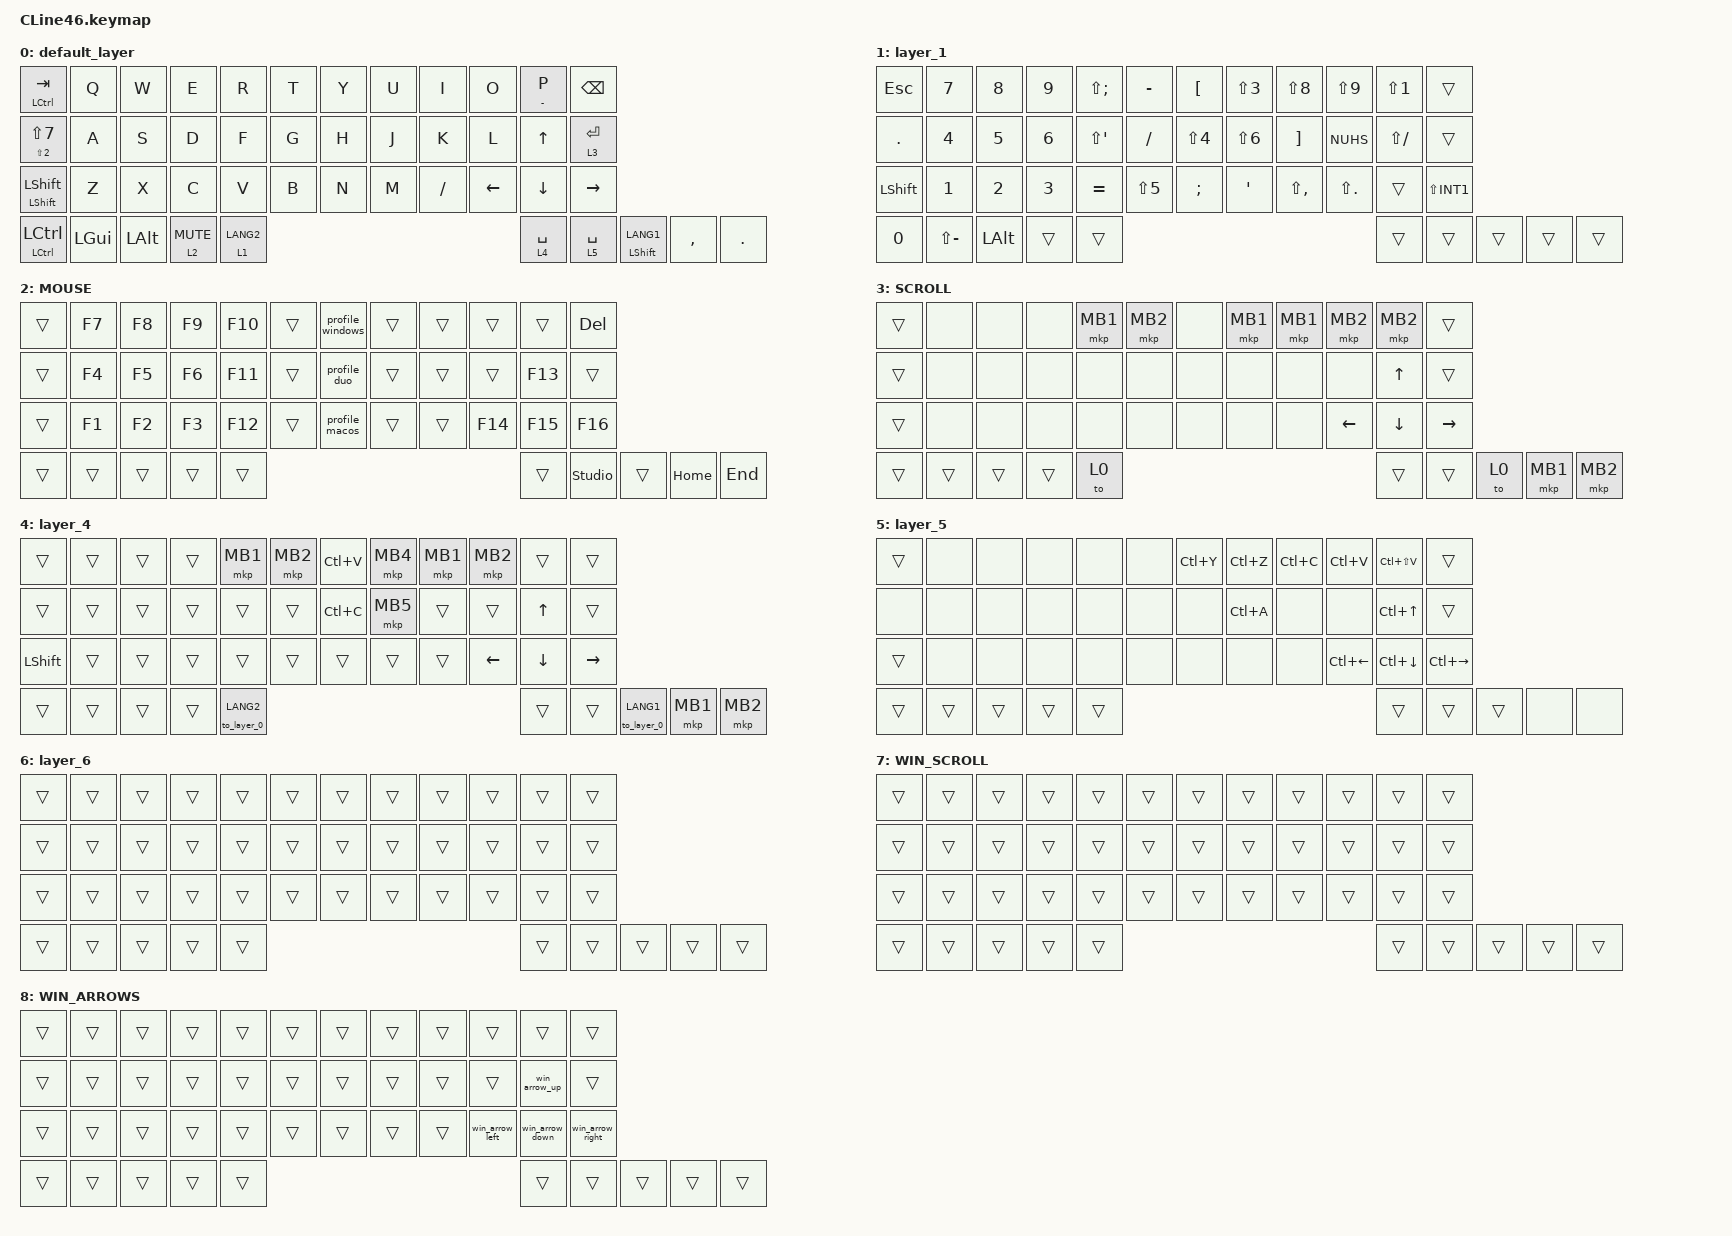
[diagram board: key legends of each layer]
#include <input/processors.dtsi>
#include <dt-bindings/zmk/input_transform.h>
#include <zephyr/dt-bindings/input/input-event-codes.h>
#include <behaviors.dtsi>
#include <behaviors/unicode.dtsi>
#include <dt-bindings/zmk/bt.h>
#include <dt-bindings/zmk/keys.h>
#include <dt-bindings/zmk/pointing.h>

// レイヤー番号（overlay の scroller と conditional_layers で使う）
#define FN_LAYER     2
#define SCROLL_LAYER 3
#define WIN_MODE     6
#define WIN_SCROLL   7
#define WIN_ARROWS   8

&mt {
    flavor = "balanced";
    quick-tap-ms = <0>;
};

/ {
    macros {
        to_layer_0: to_layer_0 {
            compatible = "zmk,behavior-macro-one-param";
            #binding-cells = <1>;
            bindings = <&to 0 &macro_param_1to1 &kp MACRO_PLACEHOLDER>;
            label = "TO_LAYER_0";
        };

        unicode_left: unicode_left {
            compatible = "zmk,behavior-macro";
            #binding-cells = <0>;
            bindings = <&uc 0x2190 0>;
            label = "UNICODE_LEFT";
        };

        unicode_up: unicode_up {
            compatible = "zmk,behavior-macro";
            #binding-cells = <0>;
            bindings = <&uc 0x2191 0>;
            label = "UNICODE_UP";
        };

        unicode_right: unicode_right {
            compatible = "zmk,behavior-macro";
            #binding-cells = <0>;
            bindings = <&uc 0x2192 0>;
            label = "UNICODE_RIGHT";
        };

        unicode_down: unicode_down {
            compatible = "zmk,behavior-macro";
            #binding-cells = <0>;
            bindings = <&uc 0x2193 0>;
            label = "UNICODE_DOWN";
        };

        profile_windows: profile_windows {
            compatible = "zmk,behavior-macro";
            #binding-cells = <0>;
            // BT 0（Windows）へ切り替え、Windows モード（レイヤー6）をオンにする。
            // そのあと BT 1（Duo）との接続を切る（つないだままだと Duo のソフトウェアキーボードが出ないため）。
            // 先に切り替えてから切断する（逆だと、切断直後に BT 1 がまだ選ばれていて Duo が再接続してしまう）
            bindings = <&uc UC_SET_WIN_COMPOSE &tog_on WIN_MODE &bt BT_SEL 0 &bt BT_DISC 1>;
            label = "PROFILE_WINDOWS";
        };

        profile_macos: profile_macos {
            compatible = "zmk,behavior-macro";
            #binding-cells = <0>;
            // BT 2（Mac）へ切り替え、Windows モードをオフにする。そのあと BT 1（Duo）との接続を切る（理由は profile_windows と同じ）
            bindings = <&uc UC_SET_MACOS &tog_off WIN_MODE &bt BT_SEL 2 &bt BT_DISC 1>;
            label = "PROFILE_MACOS";
        };

        profile_duo: profile_duo {
            compatible = "zmk,behavior-macro";
            #binding-cells = <0>;
            // BT 1（Duo / Android）へ切り替え、Windows モードをオフにする（Mac と同じ動き）
            bindings = <&tog_off WIN_MODE &bt BT_SEL 1>;
            label = "PROFILE_DUO";
        };

        // Windows の Alt＋テンキー入力で矢印記号を出す（Alt を押したままテンキー 24〜27。NumLock オン・直接入力モードが前提）
        win_arrow_up: win_arrow_up {
            compatible = "zmk,behavior-macro";
            #binding-cells = <0>;
            bindings = <&macro_press &kp LALT>, <&macro_tap &kp KP_N2 &kp KP_N4>, <&macro_release &kp LALT>;
            label = "WIN_ARROW_UP";
        };

        win_arrow_down: win_arrow_down {
            compatible = "zmk,behavior-macro";
            #binding-cells = <0>;
            bindings = <&macro_press &kp LALT>, <&macro_tap &kp KP_N2 &kp KP_N5>, <&macro_release &kp LALT>;
            label = "WIN_ARROW_DOWN";
        };

        win_arrow_right: win_arrow_right {
            compatible = "zmk,behavior-macro";
            #binding-cells = <0>;
            bindings = <&macro_press &kp LALT>, <&macro_tap &kp KP_N2 &kp KP_N6>, <&macro_release &kp LALT>;
            label = "WIN_ARROW_RIGHT";
        };

        win_arrow_left: win_arrow_left {
            compatible = "zmk,behavior-macro";
            #binding-cells = <0>;
            bindings = <&macro_press &kp LALT>, <&macro_tap &kp KP_N2 &kp KP_N7>, <&macro_release &kp LALT>;
            label = "WIN_ARROW_LEFT";
        };
    };

    behaviors {
        lt_to_layer_0: lt_to_layer_0 {
            compatible = "zmk,behavior-hold-tap";
            label = "LAYER_TAP_TO_0";
            bindings = <&mo>, <&to_layer_0>;

            #binding-cells = <2>;
            tapping-term-ms = <200>;
        };

        // レイヤーを必ずオン / 必ずオフにする（押すたびに反転する &tog と違い、何度押しても同じ結果）
        tog_on: tog_on {
            compatible = "zmk,behavior-toggle-layer";
            #binding-cells = <1>;
            display-name = "Toggle Layer On";
            toggle-mode = "on";
        };

        tog_off: tog_off {
            compatible = "zmk,behavior-toggle-layer";
            #binding-cells = <1>;
            display-name = "Toggle Layer Off";
            toggle-mode = "off";
        };

        // ジェスチャ（左親指4＋ボールを左右）で使う。Ctrl（Z の下。Mac では Command）を押していたら別のキーに変える。
        // 押していた Ctrl はホストに送らない（mod-morph の標準動作）。
        // Mac: F17/F18＝ウィンドウを左/右半分、F19/F20＝左/右のモニターへ（どちらも Hammerspoon が処理）
        gest_mac_left: gest_mac_left {
            compatible = "zmk,behavior-mod-morph";
            #binding-cells = <0>;
            bindings = <&kp F17>, <&kp F19>;
            mods = <(MOD_LCTL|MOD_RCTL)>;
        };

        gest_mac_right: gest_mac_right {
            compatible = "zmk,behavior-mod-morph";
            #binding-cells = <0>;
            bindings = <&kp F18>, <&kp F20>;
            mods = <(MOD_LCTL|MOD_RCTL)>;
        };

        // Windows: Win+←/→＝ウィンドウを左/右半分、Win+Shift+←/→＝左/右のモニターへ（Windows 標準）
        gest_win_left: gest_win_left {
            compatible = "zmk,behavior-mod-morph";
            #binding-cells = <0>;
            bindings = <&kp LG(LEFT)>, <&kp LG(LS(LEFT))>;
            mods = <(MOD_LCTL|MOD_RCTL)>;
        };

        gest_win_right: gest_win_right {
            compatible = "zmk,behavior-mod-morph";
            #binding-cells = <0>;
            bindings = <&kp LG(RIGHT)>, <&kp LG(LS(RIGHT))>;
            mods = <(MOD_LCTL|MOD_RCTL)>;
        };
    };

    // Windows モード中だけ有効になるレイヤー
    //   スクロールキー（レイヤー3）を押している ＋ Windows モード → レイヤー7（スクロール上下左右反転。overlay 側で設定）
    //   レイヤー2 を押している ＋ Windows モード → レイヤー8（矢印位置を Alt＋テンキー入力に置き換え）
    conditional_layers {
        compatible = "zmk,conditional-layers";
        win_scroll {
            if-layers = <SCROLL_LAYER WIN_MODE>;
            then-layer = <WIN_SCROLL>;
        };
        win_arrows {
            if-layers = <FN_LAYER WIN_MODE>;
            then-layer = <WIN_ARROWS>;
        };
    };

    keymap {
        compatible = "zmk,keymap";

        default_layer {
            bindings = <
&mt LCTRL TAB     &kp Q &kp W &kp E &kp R &kp T    &kp Y &kp U &kp I    &kp O    &mt MINUS P &kp BSPC
&mt LS(N2) LS(N7) &kp A &kp S &kp D &kp F &kp G    &kp H &kp J &kp K    &kp L    &kp UP      &lt 3 RET
&mt LSHFT LSHFT   &kp Z &kp X &kp C &kp V &kp B    &kp N &kp M &kp FSLH &kp LEFT &kp DOWN    &kp RIGHT
  &mt LCTRL LCTRL  &kp LGUI  &kp LALT  &lt 2 C_MUTE  &lt 1 LANG2  &lt 4 SPACE    &lt 5 SPACE  &mt LSHFT LANG1  &kp COMMA  &kp DOT
            >;
        };

        
        layer_1 {
            bindings = <
&kp ESC &kp N7 &kp N8 &kp N9 &kp LS(SEMI) &kp MINUS    &kp LBKT &kp LS(N3) &kp LS(N8) &kp LS(N9) &kp LS(N1) &trans
&kp DOT &kp N4 &kp N5 &kp N6 &kp LS(SQT) &kp FSLH    &kp LS(N4) &kp LS(N6) &kp RBKT &kp NUHS &kp LS(FSLH) &trans
&kp LSHFT &kp N1 &kp N2 &kp N3 &kp EQUAL &kp LS(N5)    &kp SEMI &kp SQT &kp LS(COMMA) &kp LS(DOT) &trans &kp LS(INT1)
  &kp N0  &kp LS(MINUS)  &kp LALT  &trans  &trans  &trans    &trans  &trans  &trans  &trans
            >;
        };


        MOUSE {
            bindings = <
&trans &kp F7 &kp F8 &kp F9 &kp F10 &trans    &profile_windows &trans &trans &trans  &trans  &kp DEL
&trans &kp F4 &kp F5 &kp F6 &kp F11 &trans    &profile_duo     &trans &trans &trans  &kp F13 &trans
&trans &kp F1 &kp F2 &kp F3 &kp F12 &trans    &profile_macos   &trans &trans &kp F14 &kp F15 &kp F16
  &trans  &trans  &trans  &trans  &trans  &trans    &studio_unlock  &trans  &kp HOME  &kp END
            >;
        };


        SCROLL {
            bindings = <
&trans &none &none &none &mkp MB1 &mkp MB2    &none &mkp MB1 &mkp MB1 &mkp MB2 &mkp MB2 &trans
&trans &none &none &none &none    &none       &none &none    &none    &none    &kp UP   &trans
&trans &none &none &none &none    &none       &none &none    &none    &kp LEFT &kp DOWN &kp RIGHT
  &trans  &trans  &trans  &trans  &to 0  &trans    &trans  &to 0  &mkp MB1  &mkp MB2
            >;
        };


        // レイヤー4: オートマウス（AML）。Y=貼り付け U=戻る H=コピー J=進む Shift=Shift、I/O 等=クリック
        layer_4 {
            bindings = <
&trans &trans &trans &trans &mkp MB1 &mkp MB2    &kp LC(V) &mkp MB4 &mkp MB1 &mkp MB2 &trans &trans
&trans &trans &trans &trans &trans &trans    &kp LC(C) &mkp MB5 &trans &trans &kp UP &trans
&kp LSHFT &trans &trans &trans &trans &trans    &trans &trans &trans &kp LEFT &kp DOWN &kp RIGHT
  &trans  &trans  &trans  &trans  &to_layer_0 LANG2  &trans    &trans  &to_layer_0 LANG1  &mkp MB1  &mkp MB2
            >;
        };


        layer_5 {
            bindings = <
&trans &none &none &none &none &none    &kp LC(Y) &kp LC(Z) &kp LC(C) &kp LC(V)    &kp LC(LS(V)) &trans
&none  &none &none &none &none &none    &none     &kp LC(A) &none     &none        &kp LC(UP)    &trans
&trans &none &none &none &none &none    &none     &none     &none     &kp LC(LEFT) &kp LC(DOWN)  &kp LC(RIGHT)
  &trans  &trans  &trans  &trans  &trans  &trans    &trans  &trans  &none  &none
            >;
        };


        // Windows モードの目印。中身はすべて &trans（打鍵には影響しない）。
        // BT 0 の切り替えキー（profile_windows）でオン、BT 1・2（profile_duo / profile_macos）でオフ。
        layer_6 {
            bindings = <
&trans &trans &trans &trans &trans &trans    &trans &trans &trans &trans &trans &trans
&trans &trans &trans &trans &trans &trans    &trans &trans &trans &trans &trans &trans
&trans &trans &trans &trans &trans &trans    &trans &trans &trans &trans &trans &trans
  &trans  &trans  &trans  &trans  &trans  &trans    &trans  &trans  &trans  &trans
            >;
        };

        // レイヤー7: Windows モードでスクロールキーを押している間（スクロールの向きは overlay の scroller_windows）
        WIN_SCROLL {
            bindings = <
&trans &trans &trans &trans &trans &trans    &trans &trans &trans &trans &trans &trans
&trans &trans &trans &trans &trans &trans    &trans &trans &trans &trans &trans &trans
&trans &trans &trans &trans &trans &trans    &trans &trans &trans &trans &trans &trans
  &trans  &trans  &trans  &trans  &trans  &trans    &trans  &trans  &trans  &trans
            >;
        };

        // レイヤー8: Windows モードで左親指4（レイヤー2）を押している間。矢印の位置だけ Alt＋テンキー入力
        WIN_ARROWS {
            bindings = <
&trans &trans &trans &trans &trans &trans    &trans &trans &trans &trans &trans &trans
&trans &trans &trans &trans &trans &trans    &trans &trans &trans &trans &win_arrow_up &trans
&trans &trans &trans &trans &trans &trans    &trans &trans &trans &win_arrow_left &win_arrow_down &win_arrow_right
  &trans  &trans  &trans  &trans  &trans  &trans    &trans  &trans  &trans  &trans
            >;
        };
    };
};
